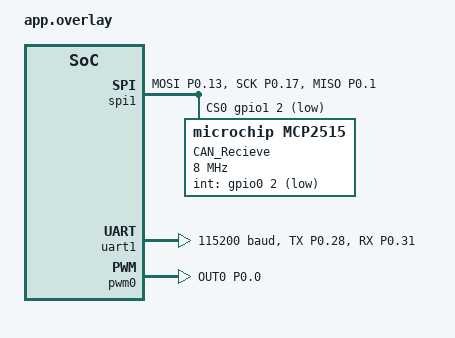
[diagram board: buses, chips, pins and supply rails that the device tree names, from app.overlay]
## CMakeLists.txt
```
cmake_minimum_required(VERSION 3.20.0)
find_package(Zephyr REQUIRED HINTS $ENV{ZEPHYR_BASE})

project(motorkontroller)

target_sources(app PRIVATE src/main.c src/motorstyring.c src/canbus.c src/vesc_uart.c)
```

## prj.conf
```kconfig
CONFIG_STDOUT_CONSOLE=y
CONFIG_UART_ASYNC_API=y
CONFIG_ADC=y
CONFIG_CAN=y
CONFIG_CAN_MCP2515=y
CONFIG_SPI=y
CONFIG_NEWLIB_LIBC=y
CONFIG_NEWLIB_LIBC_FLOAT_PRINTF=y
CONFIG_SERIAL=y
CONFIG_UART_INTERRUPT_DRIVEN=y
```

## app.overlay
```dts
&spi1 {
	status = "okay";
	pinctrl-0 = <&spi1_default>;
	pinctrl-names = "default";
	cs-gpios = <&gpio1 2 GPIO_ACTIVE_LOW>;
	mcp2515_can: mcp2515@0 {
		compatible = "microchip,mcp2515";
		spi-max-frequency = <8000000>;
		int-gpios = <&gpio0 2 GPIO_ACTIVE_LOW>;
		status = "okay";
		label = "CAN_Recieve";
		reg = <0x0>;
		osc-freq = <16000000>;
		bus-speed = <125000>;
		sjw = <1>;
		prop-seg = <2>;
		phase-seg1 = <7>;
		phase-seg2 = <6>;
		#address-cells = <1>;
		#size-cells = <0>;
	};
};

&uart1 {
	status = "okay";
	current-speed = <115200>;
	pinctrl-0 = <&uart1_default>;
	pinctrl-names = "default";
};

&pwm0 {
	status = "okay";
	pinctrl-0 = <&pwm0_default>;
	pinctrl-names = "default";
};

// Én samlet &pinctrl-blokk for alle periferiers pin-konfigurasjon
&pinctrl {
	spi1_default: spi1_default {
		group1 {
			psels = <NRF_PSEL(SPIM_MOSI, 0, 13)>,
			        <NRF_PSEL(SPIM_SCK, 0, 17)>,
			        <NRF_PSEL(SPIM_MISO, 0, 1)>;
		};
	};

	uart1_default: uart1_default {
		group1 {
			psels = <NRF_PSEL(UART_TX, 0, 28)>, //p4
			        <NRF_PSEL(UART_RX, 0, 31)>;   //p3
		};
	};

	pwm0_default: pwm0_default {
		group1 {
			psels = <NRF_PSEL(PWM_OUT0, 0, 0)>; // P0.00 = innebygd speaker
		};
	};
};

// Velger MCP2515 som CAN-enhet
/ {
	chosen {
		zephyr,canbus = &mcp2515_can;
	};

	aliases {
		pwm-speaker = &pwm0;
	};
};
```

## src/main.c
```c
#include <zephyr/kernel.h>
#include <zephyr/device.h>
#include <stdio.h>
#include <stdint.h> 
#include <stddef.h>  

#include "vesc_uart.h"
#include "canbus.h"

void main(void) {
    /* 1) Init UART (til master‐ESC) */
    uart_init();
    k_msleep(1000);

    /* 2) Init CAN på master */
    const struct device *const can_dev = get_can_dev();
    if (!can_dev) {
        printf("Error: fant ikke CAN-enhet\n");
        return;
    }
    canBegin(can_dev);
    k_msleep(500);

    printf("UART+CAN klar. Starter loop for master+slaver...\n\n");

    /* 3) Liste over ESC‐ID-er og ønskede RPM */
    // 0 = master, 1–3 = slave-ESC-er
    const uint8_t  ids[]  = {0, 1, 2, 3};
    const int32_t  rpms[] = {5000, 5000, 5000, 5000};
    const size_t   n     = sizeof(ids) / sizeof(ids[0]);

    /* 4) Evig loop: send til hver ESC i rekkefølge */
    while (1) {
        for (size_t i = 0; i < n; i++) {
            uint8_t  id  = ids[i];
            int32_t  rpm = rpms[i];

            printf("Tester ID %u med %ld RPM\n", id, (long)rpm);

            if (id == 0) {
                // Master: direkte UART‐kommando
                send_set_rpm(rpm);
            } else {
                // Slave: CAN-forwarding
                send_forwarded_rpm(id, rpm);
            }

            k_msleep(1000);

            // Stopp akkurat denne ESC-en før neste
            if (id == 0) {
                send_set_rpm(0);
            } else {
                send_forwarded_rpm(id, 0);
            }
            k_msleep(500);
        }
    }
}
```

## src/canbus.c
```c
#include "canbus.h"
#include "motorstyring.h"

#include <zephyr/sys/byteorder.h>  // sys_le16_to_cpu()
#include <zephyr/kernel.h>         // K_MSGQ_DEFINE, k_uptime_get()
#include <zephyr/drivers/can.h>    // CAN‐API
#include <stdio.h>
#include <string.h>
#include <math.h>

// Lager en meldingskø for inntil CAN_MSGQ_SIZE meldinger
K_MSGQ_DEFINE(can_msgq,
              sizeof(struct can_ret_data),
              CAN_MSGQ_SIZE, 4);

// Henter CAN‐enhet fra devicetree alias "zephyr,canbus"
const struct device *const get_can_dev(void) {
    return DEVICE_DT_GET(DT_CHOSEN(zephyr_canbus));
}

// Starter CAN‐hardware og legger til filter/callback
void canBegin(const struct device *can_dev) {
    if (!can_dev) {
        printf("Fant ikke CAN-enhet!\n");
        return;
    }
    // Prøver å starte CAN‐driveren
    if (can_start(can_dev)) {
        printf("Feil ved oppstart av CAN\n");
        return;
    }
    // Legger på filter som kun aksepterer meldinger med RECEIVE_ID
    if (setup_can_filter(can_dev, can_rx_callback, NULL) < 0) {
        printf("Klarte ikke å legge til CAN-filter\n");
        return;
    }
    printf("CAN startet og filter OK\n");
}

// Setter opp filter: ID = RECEIVE_ID, standard format
int setup_can_filter(const struct device *dev,
                     can_rx_callback_t rx_cb,
                     void *cb_data) {
    struct can_filter filter = {
        .flags = CAN_FILTER_DATA | CAN_FILTER_IDE,
        .id    = RECEIVE_ID,
        .mask  = CAN_EXT_ID_MASK,
    };
    return can_add_rx_filter(dev, rx_cb, cb_data, &filter);
}

// Callback for hver mottatt CAN‐frame
void can_rx_callback(const struct device *dev,
                     struct can_frame *frame,
                     void *user_data) {
    // Sjekk at ID og data‐lengde er korrekt (4×2 bytes = 8)
    if (frame->id == RECEIVE_ID && frame->dlc == 8) {
        // Dekode fire int16_t verdier, små‐endian til CPU‐endian
        int16_t f_i = sys_le16_to_cpu(*(int16_t *)&frame->data[0]);
        int16_t v_i = sys_le16_to_cpu(*(int16_t *)&frame->data[2]);
        int16_t r_i = sys_le16_to_cpu(*(int16_t *)&frame->data[4]);
        int16_t s_i = sys_le16_to_cpu(*(int16_t *)&frame->data[6]);

        // Pakk om til flytall (skaler fra 0–100 til 0.0–1.0)
        struct can_ret_data data = {
            .fart     = f_i  / 100.0f,
            .vinkel   = v_i  / 100.0f,
            .rotasjon = r_i  / 100.0f,
            .sving_js = s_i  / 100.0f,
        };

        // Legg meldingen i kø, håndteres i hovedløkken
        k_msgq_put(&can_msgq, &data, K_NO_WAIT);
    }
}

// Hovedløkken henter fra kø og kaller motorstyring
void process_can_data(void) {
    struct can_ret_data data;
    // Prøv å ta neste melding (ikke blokkér)
    if (k_msgq_get(&can_msgq, &data, K_NO_WAIT) == 0) {
        // Debug‐print av mottatt data
        printf("[PI→MB] fart=%.2f, vinkel=%.2f, rot=%.2f, sving_js=%.2f\n",
               data.fart, data.vinkel,
               data.rotasjon, data.sving_js);

        // Kall motor‐kontroll med alle fire parametre
        kontroller_motorene(
            data.fart,
            data.vinkel,
            data.rotasjon,
            data.sving_js
        );
    }
}

// Omskriv disse om du ønsker full CAN‐state‐rapportering
void canState(const struct device *can_dev) { /* ... */ }
const char* can_state_to_str(enum can_state state) { /* ... */ }
void send_string(const struct device *can_dev, const char *str) { /* ... */ }
```

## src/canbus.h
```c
#ifndef CANBUS_H
#define CANBUS_H

#include <zephyr/drivers/can.h>  // Zephyr CAN‐API
#include <zephyr/kernel.h>       // Zephyr kjernedefinisjoner
#include <stdint.h>              // Standard faste heltallstyper

// =====================
// CAN-konfigurasjon
// =====================
#define RECEIVE_ID     0x00000001  // CAN‐ID for mottak av joystick‐data
#define MSG_ID         0x00000002  // CAN‐ID for test‐sending
#define CAN_MSGQ_SIZE  10          // Antall elementer i CAN‐melding-kø

// =====================
// Datatype for mottatt CAN‐data (4 felt)
// =====================
struct can_ret_data {
    float fart;      // ønsket fremdrift (0.0–1.0)
    float vinkel;    // retning i radianer (−π til +π)
    float rotasjon;  // rotasjonskomponent (−1.0–1.0)
    float sving_js;  // ekstra joystick‐sving (−1.0–1.0)
};

// =====================
// Global meldingkø‐deklarasjon
// =====================
extern struct k_msgq can_msgq;   // definert i canbus.c

// =====================
// Funksjonsprototyper
// =====================

// Initialiserer og starter CAN‐hardware
void canBegin(const struct device *can_dev);

// Skriver ut CAN‐status (error count, bus state)
void canState(const struct device *can_dev);

// Henter pekeren til CAN‐enheten fra devicetree
const struct device *const get_can_dev(void);

// Setter opp filter og callback for innkommende CAN‐meldinger
int setup_can_filter(const struct device *dev,
                     can_rx_callback_t rx_cb,
                     void *cb_data);

// Callback‐funksjon som kalles for hver mottatt CAN‐frame
void can_rx_callback(const struct device *dev,
                     struct can_frame *frame,
                     void *user_data);

// Henter fra kø og utfører motorstyring
void process_can_data(void);

// Sender en test‐streng over CAN (valgfritt)
void send_string(const struct device *can_dev, const char *str);

// Hjelpefunksjon: konverterer CAN‐state‐enum til tekst
const char* can_state_to_str(enum can_state state);

#endif // CANBUS_H
```

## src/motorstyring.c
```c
#include "motorstyring.h"
#include "vesc_uart.h"

#include <math.h>      // sinf, cosf, fabsf, fmaxf
#include <stdio.h>     // printf
#include <zephyr/kernel.h>  // k_msleep()

#define NUM_MOTORS 4
#define MAX_RPM    5000    // Maks RPM‐skala for normaliserte duty‐verdier

// Beregner hjul‐bidrag basert på ønsket bevegelse + sving‐joystick
struct MotorVerdier kalkulerMotorVerdier(
    float fart,
    float vinkel,
    float rotasjon,
    float sving_js
) {
    // Slå sammen hovedrotasjon og joystick‐sving
    float rot_tot = rotasjon + sving_js;

    // Finn sideveis (x) og fremover (y) komposanter
    float x = fart * sinf(vinkel);  // vinkel=0 → x=0
    float y = fart * cosf(vinkel);  // vinkel=0 → y=fart

    // Juster rotasjon basert på fart
    float just_rot = rot_tot * fart;

    // Beregn bidrag for hvert hjul (mecanum‐matrise)
    float fl = y + x + just_rot;  // front left
    float fr = y - x - just_rot;  // front right
    float rl = y - x + just_rot;  // rear left
    float rr = y + x - just_rot;  // rear right

    // Normaliser hvis noen absolutt‐verdier overskrider 1.0
    float maxv = fmaxf(fmaxf(fabsf(fl), fabsf(fr)),
                       fmaxf(fabsf(rl), fabsf(rr)));
    if (maxv > 1.0f) {
        fl /= maxv; fr /= maxv;
        rl /= maxv; rr /= maxv;
    }

    // Returner strukturen med alle fire bidrag
    return (struct MotorVerdier){ fl, fr, rl, rr };
}

// Globale glatte‐variabler for jevn akselerasjon/stopp
static float gj_fart     = 0.0f;
static float gj_vinkel   = 0.0f;
static float gj_rotasjon = 0.0f;
static const float delta = 0.05f;  // endring per steg

// Høyere nivå: kall denne med rå input, så sendes RPM via UART→CAN→VESC
int kontroller_motorene(
    float ønsket_fart,
    float ønsket_vinkel,
    float ønsket_rotasjon,
    float ønsket_sving_js
) {
    // Debug‐print av input
    printf("kontrollerer: fart=%.2f vinkel=%.2f rot=%.2f sving_js=%.2f\n",
           ønsket_fart, ønsket_vinkel,
           ønsket_rotasjon, ønsket_sving_js);

    // TODO: Legg til validering av input og smoothing med gj_* + delta

    // Kalkuler ferdige normaliserte hjul‐verdier
    struct MotorVerdier mv = kalkulerMotorVerdier(
        gj_fart,
        gj_vinkel,
        gj_rotasjon,
        ønsket_sving_js
    );

    // Skaler til heltall‐RPM og send til hver VESC‐node
    int32_t rpms[NUM_MOTORS] = {
        (int32_t)(mv.front_left  * MAX_RPM),
        (int32_t)(mv.front_right * MAX_RPM),
        (int32_t)(mv.rear_left   * MAX_RPM),
        (int32_t)(mv.rear_right  * MAX_RPM),
    };
    printf("sender rpms: %ld, %ld, %ld, %ld\n",
           (long)rpms[0], (long)rpms[1],
           (long)rpms[2], (long)rpms[3]);

    // Antatte CAN‐ID-er for hjulene
    uint8_t ids[NUM_MOTORS] = {0, 1, 2, 3};
    for (int i = 0; i < NUM_MOTORS; i++) {
        // Wrapper‐kall som pakker RPM‐kommando for riktig node
        send_forwarded_rpm(ids[i], rpms[i]);
        k_msleep(1);  // kort pause mellom pakker
    }

    return 0;
}
```

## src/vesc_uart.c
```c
#include "vesc_uart.h"

#include <zephyr/drivers/uart.h>    // uart_poll_out, uart_poll_in
#include <zephyr/kernel.h>          // k_busy_wait, k_msleep
#include <zephyr/device.h>          // device_is_ready
#include <zephyr/devicetree.h>     // DEVICE_DT_GET
#include <string.h>                 // memcpy
#include <stdio.h>
#include <stdint.h>

#define UART_NODE_LABEL DT_NODELABEL(uart1)

// Strukturen som peker til UART‐driveren
static const struct device *uart_dev = NULL;

// CRC16‐algoritme for VESC‐pakker
static uint16_t compute_crc16(const uint8_t *data, size_t len) {
    uint16_t crc = 0;
    for (size_t i = 0; i < len; i++) {
        crc ^= (uint16_t)data[i] << 8;
        for (int bit = 0; bit < 8; bit++) {
            if (crc & 0x8000) {
                crc = (crc << 1) ^ 0x1021;
            } else {
                crc <<= 1;
            }
        }
    }
    return crc;
}

// Åpner UART1 og sjekker at den er klar
void uart_init(void) {
    uart_dev = DEVICE_DT_GET(UART_NODE_LABEL);
    if (!device_is_ready(uart_dev)) {
        printf("ERROR: UART1 ikke klar\n");
    } else {
        printf("UART1 initialisert: %s\n", uart_dev->name);
    }
}

// Ubrukt i din kjede, men standard SET_DUTY‐pakke
void send_set_duty(float duty) {
    // ... som tidligere ...
}

// Ubrukt i din kjede, men standard SET_RPM‐pakke
void send_set_rpm(int32_t rpm) {
    // ... som tidligere ...
}

// Hovedmetode: pakker SET_RPM i FORWARD_CAN‐ramme
void send_forwarded_rpm(uint8_t node_id, int32_t rpm) {
    if (!uart_dev) return;

    // Konverter til big‐endian før packing
    int32_t rpm_be = __builtin_bswap32(rpm);

    // Lag payload: [COMM_FORWARD_CAN][node_id][COMM_SET_RPM][rpm_be…]
    uint8_t payload[1+1+1+4];
    size_t p = 0;
    payload[p++] = COMM_FORWARD_CAN;
    payload[p++] = node_id;
    payload[p++] = COMM_SET_RPM;
    memcpy(&payload[p], &rpm_be, sizeof(rpm_be));
    p += sizeof(rpm_be);

    // Beregn CRC over payload
    uint16_t crc = compute_crc16(payload, p);

    // Bygg ramme: STX, lengde, payload, CRC_hi, CRC_lo, ETX
    uint8_t frame[2 + p + 2 + 1];
    size_t idx = 0;
    frame[idx++] = VESC_STX;
    frame[idx++] = (uint8_t)p;
    memcpy(&frame[idx], payload, p); idx += p;
    frame[idx++] = crc >> 8;
    frame[idx++] = crc & 0xFF;
    frame[idx++] = VESC_ETX;

    // Send ramme byte‐for‐byte med liten delay
    for (size_t i = 0; i < idx; i++) {
        uart_poll_out(uart_dev, frame[i]);
        k_busy_wait(100);
    }
}

// Spørring og RX‐debug (likt som før)
void request_vesc_values(void) { /* … */ }
void uart_rx_debug(void)      { /* … */ }
```
